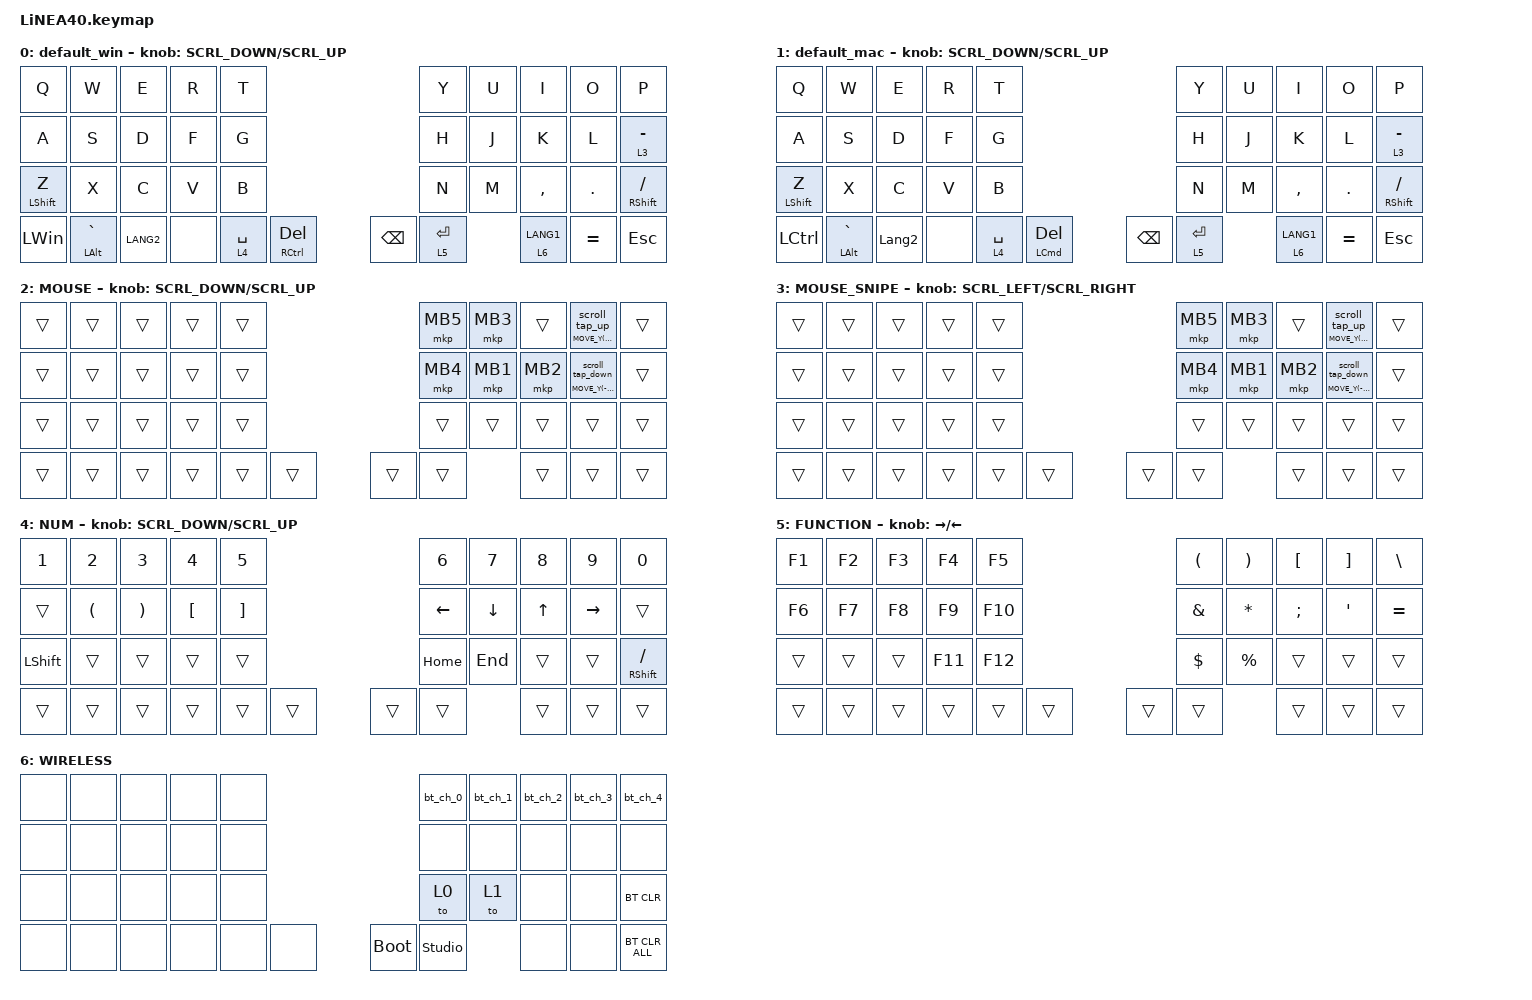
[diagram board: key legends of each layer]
// 移動量(units) × SCROLL_TAP_MS(ms) ÷ 1000 が1以上でないと、
// &mscの整数丸めにより実際には何も送信されない(エンコーダ・チョン押し共通の下限)
#define ZMK_POINTING_DEFAULT_SCRL_VAL 130
// ボタンのチョン押しパルス専用。Androidのページ送りが2ページ分になって
// しまうため、これ以上は上げられない(エンコーダのSCRL_VALと同値が上限)
#define BUTTON_TAP_SCRL_VAL 130
// エンコーダ1クリック/ボタンのチョン押しパルス、共通の疑似押下時間(ms)
// 短くするほど、エンコーダを連続で回した時にキューに順番待ちが溜まりにくくなる
#define SCROLL_TAP_MS 10

#include <dt-bindings/zmk/input_transform.h>
#include <input/processors.dtsi>
#include <zephyr/dt-bindings/input/input-event-codes.h>
#include <behaviors.dtsi>
#include <dt-bindings/zmk/bt.h>
#include <dt-bindings/zmk/keys.h>
#include <dt-bindings/zmk/pointing.h>

#define MOUSE 2
#define MOUSE_SNIPE 3
#define NUM 4
#define FUNCTION 5
#define WIRELESS 6

//mouse cursol

&mmv {
    delay-ms = <20>;
    trigger-period-ms = <5>;
    time-to-max-speed-ms = <100>;
    acceleration-exponent = <2>;
};

//mouse scroll

&msc {
    delay-ms = <0>;
    trigger-period-ms = <2>;
    time-to-max-speed-ms = <100>;
    acceleration-exponent = <0>;
};

// ボタンによるスクロール専用。エンコーダ(mouse_scrl)は&mscを直接使うので
// msc_slowの調整では影響を受けない。
// チョン押し=固定の小さいパルス(scroll_tap_up/down)、長押し=継続スクロール
// (msc_slow)をhold-tapで完全に分離し、反応性と長押し速度を独立に調整できる。
/ {
    behaviors {
        msc_slow: mouse_scroll_slow {
            compatible = "zmk,behavior-input-two-axis";
            #binding-cells = <1>;
            x-input-code = <INPUT_REL_HWHEEL>;
            y-input-code = <INPUT_REL_WHEEL>;
            trigger-period-ms = <2>;
            time-to-max-speed-ms = <150>;
            acceleration-exponent = <1>;
        };

        scroll_up_ht: scroll_up_hold_tap {
            compatible = "zmk,behavior-hold-tap";
            #binding-cells = <2>;
            flavor = "tap-preferred";
            tapping-term-ms = <220>;
            hold-while-undecided;
            bindings = <&msc_slow>, <&scroll_tap_up>;
        };

        scroll_down_ht: scroll_down_hold_tap {
            compatible = "zmk,behavior-hold-tap";
            #binding-cells = <2>;
            flavor = "tap-preferred";
            tapping-term-ms = <220>;
            hold-while-undecided;
            bindings = <&msc_slow>, <&scroll_tap_down>;
        };
    };

    macros {
        scroll_tap_up: scroll_tap_up {
            compatible = "zmk,behavior-macro";
            #binding-cells = <0>;
            bindings =
                <&macro_press &msc MOVE_Y(BUTTON_TAP_SCRL_VAL)>,
                <&macro_wait_time SCROLL_TAP_MS>,
                <&macro_release &msc MOVE_Y(BUTTON_TAP_SCRL_VAL)>;
        };

        scroll_tap_down: scroll_tap_down {
            compatible = "zmk,behavior-macro";
            #binding-cells = <0>;
            bindings =
                <&macro_press &msc MOVE_Y(-BUTTON_TAP_SCRL_VAL)>,
                <&macro_wait_time SCROLL_TAP_MS>,
                <&macro_release &msc MOVE_Y(-BUTTON_TAP_SCRL_VAL)>;
        };
    };

    // input eventはzmk,input-listener経由でHIDレポートに変換されるため、
    // listenerが無いとmsc_slowのイベントは破棄されスクロールしない
    msc_slow_input_listener: msc_slow_input_listener {
        compatible = "zmk,input-listener";
        device = <&msc_slow>;
    };
};

/ {
    input_processors {
        zip_wheel_scaler: zip_wheel_scaler {
            compatible = "zmk,input-processor-scaler";
            #input-processor-cells = <2>;
            type = <INPUT_EV_REL>;
            codes = <INPUT_REL_WHEEL>;
            track-remainders;
        };
    };
};

&msc_input_listener {
    speed_up {
        layers = <FUNCTION>;
        input-processors = <&zip_wheel_scaler 2 1>; //スクロールを2倍速にする
    };
};

// カーソル加速はドライバ側(CONFIG_PMW3610_ACCELERATION_*)で行うため、
// ここには input-processor を置かない。
&trackball_listener {
    scroller {
        layers = <FUNCTION>;
        input-processors =
            <&zip_xy_transform INPUT_TRANSFORM_Y_INVERT>,
            //スクロール方向を逆転,,,,,,,,,,,,,,,,,,,,,,,,,,,,,,,,
            <&zip_xy_to_scroll_mapper>;
    };
};

/ {
    combos {
        compatible = "zmk,combos";

        InsertKey {
            bindings = <&kp INS>;
            key-positions = <6 7>;
        };

        CenterClick {
            bindings = <&mkp MB3>;
            key-positions = <17 16>;
            layers = <2>;
        };

        TabClick {
            bindings = <&kp TAB>;
            key-positions = <11 12>;
        };

        CapsLock {
            bindings = <&kp CAPS>;
            key-positions = <0 1>;
        };
    };

    behaviors {
        re_kp: sensor_rotate_kp {
            compatible = "zmk,behavior-sensor-rotate-var";
            #sensor-binding-cells = <2>;
            bindings = <&kp>, <&kp>;
        };

        mouse_scrl: mouse_wheel_scrl {
            compatible = "zmk,behavior-sensor-rotate-var";
            #sensor-binding-cells = <2>;
            bindings = <&msc>, <&msc>;

            tap-ms = <SCROLL_TAP_MS>;
        };

        //        lt_to_layer_0: lt_to_layer_0 {
        //            compatible = "zmk,behavior-hold-tap";
        //            label = "LAYER_TAP_TO_0";
        //            bindings = <&mo>, <&to_layer_0>;
        //
        //            #binding-cells = <2>;
        //           tapping-term-ms = <200>;
        //        };

        tog_on: toggle_layer_on_only {
            compatible = "zmk,behavior-toggle-layer";
            #binding-cells = <1>;
            display-name = "Toggle Layer On";
            toggle-mode = "on";
        };

        tog_off: toggle_layer_off_only {
            compatible = "zmk,behavior-toggle-layer";
            #binding-cells = <1>;
            display-name = "Toggle Layer Off";
            toggle-mode = "off";
        };

        mtp: mod_tap_pref {
            compatible = "zmk,behavior-hold-tap";
            label = "MOD_TAP_PREF";
            #binding-cells = <2>;
            tapping-term-ms = <200>;
            flavor = "tap-preferred";
            bindings = <&kp>, <&kp>;
        };
    };

    macros {
        bt_ch_0: bt_ch_0 {
            compatible = "zmk,behavior-macro";
            #binding-cells = <0>;
            bindings =
                <&bt BT_DISC 1 &bt BT_DISC 2 &bt BT_DISC 3 &bt BT_DISC 4 &tog_off 0 &tog_off 1>,
                <&macro_wait_time 200>,
                <&bt BT_SEL 0 &tog_on 0>;

            label = "BT_CH_0";
        };

        bt_ch_1: bt_ch_1 {
            compatible = "zmk,behavior-macro";
            #binding-cells = <0>;
            bindings =
                <&bt BT_DISC 0 &bt BT_DISC 2 &bt BT_DISC 3 &bt BT_DISC 4 &tog_off 0 &tog_off 1>,
                <&macro_wait_time 200>,
                <&bt BT_SEL 1 &tog_on 1>;

            label = "BT_CH_1";
        };

        bt_ch_2: bt_ch_2 {
            compatible = "zmk,behavior-macro";
            #binding-cells = <0>;
            bindings =
                <&bt BT_DISC 0 &bt BT_DISC 1 &bt BT_DISC 3 &bt BT_DISC 4 &tog_off 0 &tog_off 1>,
                <&macro_wait_time 200>,
                <&bt BT_SEL 2 &tog_on 0>;

            label = "BT_CH_2";
        };

        bt_ch_3: bt_ch_3 {
            compatible = "zmk,behavior-macro";
            #binding-cells = <0>;
            bindings =
                <&bt BT_DISC 0 &bt BT_DISC 1 &bt BT_DISC 2 &bt BT_DISC 4 &tog_off 0 &tog_off 1>,
                <&macro_wait_time 200>,
                <&bt BT_SEL 3 &tog_on 1>;

            label = "BT_CH_3";
        };

        bt_ch_4: bt_ch_4 {
            compatible = "zmk,behavior-macro";
            #binding-cells = <0>;
            bindings =
                <&bt BT_DISC 0 &bt BT_DISC 1 &bt BT_DISC 2 &bt BT_DISC 3 &tog_off 0 &tog_off 1>,
                <&macro_wait_time 200>,
                <&bt BT_SEL 4 &tog_off 0>;

            label = "BT_CH_4";
        };
    };

    keymap {
        compatible = "zmk,keymap";

        default_win {
            bindings = <
&kp Q              &kp W               &kp E      &kp R  &kp T                                        &kp Y        &kp U  &kp I        &kp O      &kp P
&kp A              &kp S               &kp D      &kp F  &kp G                                        &kp H        &kp J  &kp K        &kp L      &lt 3 MINUS
&mtp LEFT_SHIFT Z  &kp X               &kp C      &kp V  &kp B                                        &kp N        &kp M  &kp COMMA    &kp DOT    &mt RIGHT_SHIFT SLASH
&kp LEFT_WIN       &mt LEFT_ALT GRAVE  &kp LANG2  &none  &lt 4 SPACE  &mt RCTRL DEL    &kp BACKSPACE  &lt 5 ENTER         &lt 6 LANG1  &kp EQUAL  &kp ESC
            >;

            sensor-bindings = <&mouse_scrl SCRL_DOWN SCRL_UP>;
        };

        default_mac {
            bindings = <
&kp Q              &kp W               &kp E           &kp R  &kp T                                                  &kp Y        &kp U  &kp I        &kp O      &kp P
&kp A              &kp S               &kp D           &kp F  &kp G                                                  &kp H        &kp J  &kp K        &kp L      &lt 3 MINUS
&mtp LEFT_SHIFT Z  &kp X               &kp C           &kp V  &kp B                                                  &kp N        &kp M  &kp COMMA    &kp DOT    &mt RIGHT_SHIFT SLASH
&kp LCTRL          &mt LEFT_ALT GRAVE  &kp LANGUAGE_2  &none  &lt 4 SPACE  &mt LEFT_COMMAND DELETE    &kp BACKSPACE  &lt 5 ENTER         &lt 6 LANG1  &kp EQUAL  &kp ESC
            >;

            sensor-bindings = <&mouse_scrl SCRL_DOWN SCRL_UP>;
        };

        MOUSE {
            bindings = <
&trans  &trans  &trans  &trans  &trans                    &mkp MB5  &mkp MB3  &trans    &scroll_up_ht MOVE_Y(36) 0    &trans
&trans  &trans  &trans  &trans  &trans                    &mkp MB4  &mkp MB1  &mkp MB2  &scroll_down_ht MOVE_Y(-36) 0  &trans
&trans  &trans  &trans  &trans  &trans                    &trans    &trans    &trans    &trans          &trans
&trans  &trans  &trans  &trans  &trans  &trans    &trans  &trans              &trans    &trans          &trans
            >;

            sensor-bindings = <&mouse_scrl SCRL_DOWN SCRL_UP>;
        };

        MOUSE_SNIPE {
            bindings = <
&trans  &trans  &trans  &trans  &trans                    &mkp MB5  &mkp MB3  &trans    &scroll_up_ht MOVE_Y(36) 0    &trans
&trans  &trans  &trans  &trans  &trans                    &mkp MB4  &mkp MB1  &mkp MB2  &scroll_down_ht MOVE_Y(-36) 0  &trans
&trans  &trans  &trans  &trans  &trans                    &trans    &trans    &trans    &trans          &trans
&trans  &trans  &trans  &trans  &trans  &trans    &trans  &trans              &trans    &trans          &trans
            >;

            sensor-bindings = <&mouse_scrl SCRL_LEFT SCRL_RIGHT>;
        };

        NUM {
            bindings = <
&kp N1          &kp N2                &kp N3                 &kp N4            &kp N5                               &kp N6    &kp N7    &kp N8  &kp N9     &kp N0
&trans          &kp LEFT_PARENTHESIS  &kp RIGHT_PARENTHESIS  &kp LEFT_BRACKET  &kp RIGHT_BRACKET                    &kp LEFT  &kp DOWN  &kp UP  &kp RIGHT  &trans
&kp LEFT_SHIFT  &trans                &trans                 &trans            &trans                               &kp HOME  &kp END   &trans  &trans     &mt RIGHT_SHIFT SLASH
&trans          &trans                &trans                 &trans            &trans             &trans    &trans  &trans              &trans  &trans     &trans
            >;

            sensor-bindings = <&mouse_scrl SCRL_DOWN SCRL_UP>;
        };

        FUNCTION {
            bindings = <
&kp F1  &kp F2  &kp F3  &kp F4   &kp F5                     &kp LEFT_PARENTHESIS  &kp RIGHT_PARENTHESIS  &kp LEFT_BRACKET  &kp RIGHT_BRACKET  &kp BACKSLASH
&kp F6  &kp F7  &kp F8  &kp F9   &kp F10                    &kp AMPERSAND         &kp ASTERISK           &kp SEMICOLON     &kp SINGLE_QUOTE   &kp EQUAL
&trans  &trans  &trans  &kp F11  &kp F12                    &kp DOLLAR            &kp PERCENT            &trans            &trans             &trans
&trans  &trans  &trans  &trans   &trans   &trans    &trans  &trans                                       &trans            &trans             &trans
            >;

            sensor-bindings = <&re_kp RIGHT_ARROW LEFT_ARROW>;
        };

        WIRELESS {
            bindings = <
&none  &none  &none  &none  &none                        &bt_ch_0        &bt_ch_1  &bt_ch_2  &bt_ch_3  &bt_ch_4
&none  &none  &none  &none  &none                        &none           &none     &none     &none     &none
&none  &none  &none  &none  &none                        &to 0           &to 1     &none     &none     &bt BT_CLR
&none  &none  &none  &none  &none  &none    &bootloader  &studio_unlock            &none     &none     &bt BT_CLR_ALL
            >;
        };
    };
};
